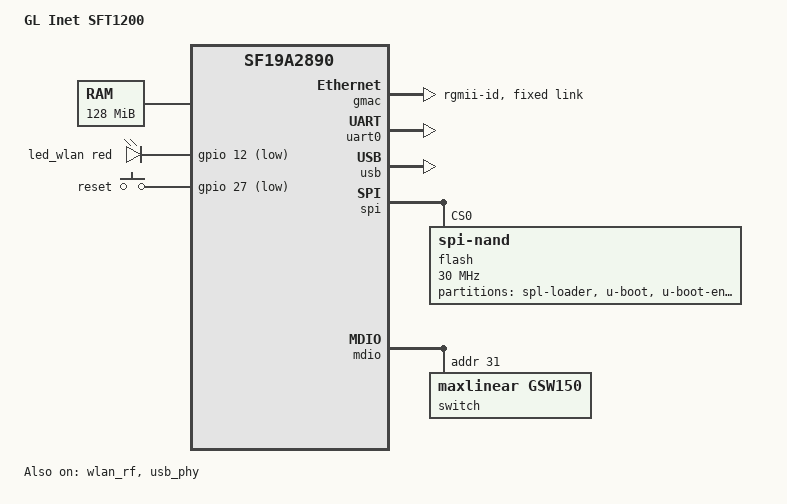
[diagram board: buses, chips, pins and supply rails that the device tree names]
/dts-v1/;
#include <dt-bindings/input/input.h>
#include <dt-bindings/leds/common.h>
#include "sf19a2890.dtsi"

/ {
	model = "GL Inet SFT1200";
	compatible = "glinet,sft1200", "siflower,sf19a2890";

	chosen {
		stdout-path = "serial0:115200n8";
	};

	memory@0 {
		device_type = "memory";
		reg = <0x0 0x8000000>;
	};

	leds {
		compatible = "gpio-leds";

		led_wlan: wlan {
			function = LED_FUNCTION_WLAN;
			color = <LED_COLOR_ID_RED>;
			gpios = <&gpio 12 GPIO_ACTIVE_LOW>;
		};
	};

	keys {
		compatible = "gpio-keys";

		reset {
			label = "reset";
			gpios = <&gpio 27 GPIO_ACTIVE_LOW>;
			linux,code = <KEY_RESTART>;
		};
	};
};

&gmac {
	status = "okay";
	phy-mode = "rgmii-id";
	snps,ps-speed = <1000>;
	fixed-link {
		speed = <1000>;
		full-duplex;
		pause;
	};
};

&wlan_rf {
	status = "okay";
};

&uart0 {
	status = "okay";
};

&usb {
	status = "okay";
};

&usb_phy {
	status = "okay";
};

&spi {
	status = "okay";
	flash@0 {
		compatible = "jedec,spi-nand";
		reg = <0>;
		spi-max-frequency = <30000000>;

		#address-cells = <1>;
		#size-cells = <1>;

		partitions {
			compatible = "fixed-partitions";
			#address-cells = <1>;
			#size-cells = <1>;

			partition@0 {
				label = "spl-loader";
				reg = <0x0 0x20000>; /* 128k */
				read-only;
			};

			partition@20000 {
				label = "u-boot";
				reg = <0x20000 0x60000>; /* 384k */
			};

			partition@80000 {
				label = "u-boot-env";
				reg = <0x80000 0x20000>; /* 128k */
			};
/*

[   12.781731] macaddr is 94 83 c4 2f d3 b8
[   12.901272] get gmac delay: 1715
[   13.006248] sf_gmac: request irq=18 ret=0
[   13.010431] sf_gmac: request pmt irq=19 ret=0


*/
			partition@90000 {
				label = "factory";
				reg = <0xa0000 0x7f400000>; /* 128k */
			};

			partition@c0000 {
				label = "kernel";
				reg = <0xc0000 0x400000>; /* 640k- */
			};

			partition@4c0000 {
				label = "ubi";
				reg = <0x4c0000 0x7b40000>; /* 640k- */
			};

		};
	};
};

&mdio {
	#address-cells = <1>;
	#size-cells = <0>;

	switch@1f {
		compatible = "maxlinear,gsw150";
		reg = <0x1f>;
	};
};
